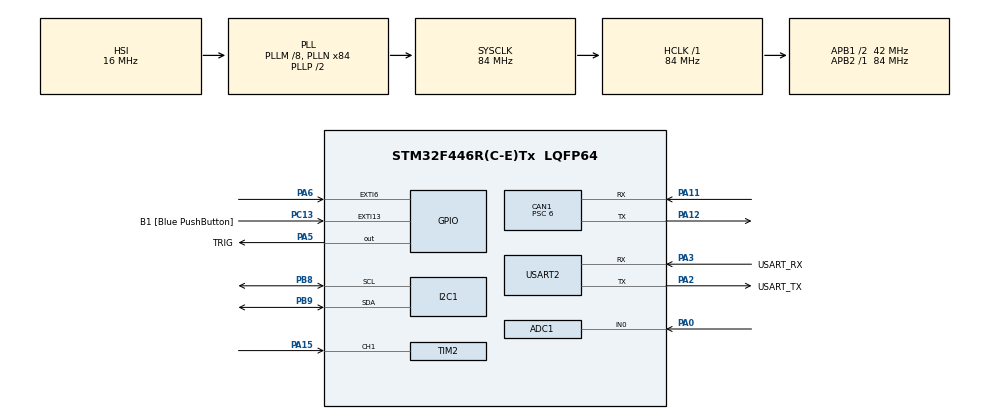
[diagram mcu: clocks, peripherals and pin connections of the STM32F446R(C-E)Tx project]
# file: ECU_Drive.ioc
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ADC1.Channel-2\#ChannelRegularConversion=ADC_CHANNEL_0
ADC1.ContinuousConvMode=ENABLE
ADC1.NbrOfConversionFlag=1
ADC1.Rank-2\#ChannelRegularConversion=1
ADC1.SamplingTime-2\#ChannelRegularConversion=ADC_SAMPLETIME_3CYCLES
ADC1.master=1
CAN1.ABOM=ENABLE
CAN1.BS1=CAN_BS1_11TQ
CAN1.BS2=CAN_BS2_2TQ
CAN1.CalculateBaudRate=500000
CAN1.CalculateTimeBit=2000
CAN1.CalculateTimeQuantum=142.85714285714286
CAN1.Prescaler=6
FREERTOS.Mutexes01=Mutex_I2C,Dynamic,NULL,Available
FREERTOS.Tasks01=LCD_Task,-2,256,StartDefaultTask,Default,NULL,Dynamic,NULL,NULL;CAN_RX_Task,2,256,StartTask02,Default,NULL,Dynamic,NULL,NULL;Distance_Task,0,128,StartTask03,Default,NULL,Dynamic,NULL,NULL;Speed_Task,0,128,StartTask04,Default,NULL,Dynamic,NULL,NULL;CAN_TX_Task,0,256,StartTask05,Default,NULL,Dynamic,NULL,NULL;Heartbeat_Task,-1,128,StartTask06,Default,NULL,Dynamic,NULL,NULL
Mcu.Family=STM32F4
Mcu.Name=STM32F446R(C-E)Tx
Mcu.Package=LQFP64
NVIC.CAN1_RX0_IRQn=true\:5\:0\:false\:false\:true\:true\:true\:true\:true
NVIC.CAN1_TX_IRQn=true\:5\:0\:false\:false\:true\:true\:true\:true\:true
NVIC.EXTI15_10_IRQn=true\:5\:0\:false\:false\:true\:true\:true\:true\:true
NVIC.EXTI9_5_IRQn=true\:5\:0\:false\:false\:true\:true\:true\:true\:true
NVIC.PriorityGroup=NVIC_PRIORITYGROUP_4
NVIC.TIM2_IRQn=true\:5\:0\:false\:false\:true\:true\:true\:true\:true
NVIC.TIM4_IRQn=true\:15\:0\:false\:false\:true\:false\:false\:true\:true
NVIC.TimeBase=TIM4_IRQn
NVIC.TimeBaseIP=TIM4
PA0-WKUP.Signal=ADCx_IN0
PA11.Mode=CAN_Activate
PA11.Signal=CAN1_RX
PA12.Mode=CAN_Activate
PA12.Signal=CAN1_TX
PA13.GPIO_Label=TMS
PA13.Mode=Serial_Wire
PA13.Signal=SYS_JTMS-SWDIO
PA14.GPIO_Label=TCK
PA14.Mode=Serial_Wire
PA14.Signal=SYS_JTCK-SWCLK
PA15.Signal=S_TIM2_CH1_ETR
PA2.GPIO_Label=USART_TX
PA2.Mode=Asynchronous
PA2.Signal=USART2_TX
PA3.GPIO_Label=USART_RX
PA3.Mode=Asynchronous
PA3.Signal=USART2_RX
PA5.GPIO_Label=TRIG
PA5.Signal=GPIO_Output
PA6.GPIO_ModeDefaultEXTI=GPIO_MODE_IT_RISING_FALLING
PA6.Signal=GPXTI6
PB8.Mode=I2C
PB8.Signal=I2C1_SCL
PB9.Mode=I2C
PB9.Signal=I2C1_SDA
PC13.GPIO_Label=B1 [Blue PushButton]
PC13.GPIO_ModeDefaultEXTI=GPIO_MODE_IT_FALLING
PC13.Signal=GPXTI13
PC14-OSC32_IN.Mode=LSE-External-Oscillator
PC14-OSC32_IN.Signal=RCC_OSC32_IN
PC15-OSC32_OUT.Mode=LSE-External-Oscillator
PC15-OSC32_OUT.Signal=RCC_OSC32_OUT
PH0-OSC_IN.Mode=HSE-External-Oscillator
PH0-OSC_IN.Signal=RCC_OSC_IN
PH1-OSC_OUT.Mode=HSE-External-Oscillator
PH1-OSC_OUT.Signal=RCC_OSC_OUT
ProjectManager.HeapSize=0x200
ProjectManager.StackSize=0x400
ProjectManager.TargetToolchain=STM32CubeIDE
RCC.48MHZClocksFreq_Value=84000000
RCC.AHBFreq_Value=84000000
RCC.APB1CLKDivider=RCC_HCLK_DIV2
RCC.APB1Freq_Value=42000000
RCC.APB1TimFreq_Value=84000000
RCC.APB2Freq_Value=84000000
RCC.APB2TimFreq_Value=84000000
RCC.CortexFreq_Value=84000000
RCC.FLatency-AdvancedSettings=FLASH_LATENCY_2
RCC.HCLKFreq_Value=84000000
RCC.HSE_VALUE=8000000
RCC.HSI_VALUE=16000000
RCC.PLLM=8
RCC.PLLN=84
RCC.SYSCLKFreq_VALUE=84000000
RCC.SYSCLKSource=RCC_SYSCLKSOURCE_PLLCLK
RCC.USBFreq_Value=84000000
RCC.VCOOutputFreq_Value=168000000
SH.ADCx_IN0.0=ADC1_IN0,IN0
SH.S_TIM2_CH1_ETR.0=TIM2_CH1,Input_Capture1_from_TI1
TIM2.Channel-Input_Capture1_from_TI1=TIM_CHANNEL_1
TIM2.Prescaler=83
USART2.VirtualMode=VM_ASYNC
VP_FREERTOS_VS_CMSIS_V1.Mode=CMSIS_V1
VP_SYS_VS_tim4.Mode=TIM4
VP_TIM2_VS_ClockSourceINT.Mode=Internal
board=NUCLEO-F446RE

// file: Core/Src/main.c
/* USER CODE BEGIN Header */
/**
 ******************************************************************************
 * @file           : main.c
 * @brief          : Main program body
 ******************************************************************************
 * @attention
 *
 * Copyright (c) 2026 STMicroelectronics.
 * All rights reserved.
 *
 * This software is licensed under terms that can be found in the LICENSE file
 * in the root directory of this software component.
 * If no LICENSE file comes with this software, it is provided AS-IS.
 *
 ******************************************************************************
 */
/* USER CODE END Header */
#include "main.h"
#include "cmsis_os.h"
#include "adc.h"
#include "can.h"
#include "i2c.h"
#include "tim.h"
#include "usart.h"
#include "gpio.h"

/* USER CODE BEGIN Includes */
#include "i2c_lcd.h"
#include "driving_data.h"
#include "can.h"
#include <stdio.h>
/* USER CODE END Includes */

/* USER CODE BEGIN PV */
I2C_LCD_HandleTypeDef lcd;  // LCD 핸들 구조체 전역 변수 선언

volatile uint32_t IC_Val1 = 0;
volatile uint32_t IC_Val2 = 0;
volatile uint32_t Difference = 0;
volatile uint8_t Is_First_Captured = 0;  // 첫 번째 엣지(Rising) 캡처 여부 플래그

extern uint16_t ultrasonic_distance; // freertos.c에 있는 변수 가져오기
volatile uint8_t ota_mode_active = 0;
/* USER CODE END PV */

void SystemClock_Config(void);
void MX_FREERTOS_Init(void);

int main(void)
{

  /* MCU Configuration--------------------------------------------------------*/

  /* Reset of all peripherals, Initializes the Flash interface and the Systick. */
  HAL_Init();

  /* Configure the system clock */
  SystemClock_Config();

  /* Initialize all configured peripherals */
  MX_GPIO_Init();
  MX_ADC1_Init();
  MX_CAN1_Init();
  MX_I2C1_Init();
  MX_TIM2_Init();
  MX_USART2_UART_Init();
  /* USER CODE BEGIN 2 */
	// 1. I2C LCD 하드웨어 핸들 매핑
	lcd.hi2c = &hi2c1;

	// 2. I2C LCD 주소 자동 스캔 및 설정
	HAL_Delay(1000);
	if (HAL_I2C_IsDeviceReady(&hi2c1, 0x27 << 1, 5, 100) == HAL_OK) {
		lcd.address = 0x27 << 1; // 0x27 주소 매핑
	} else if (HAL_I2C_IsDeviceReady(&hi2c1, 0x3F << 1, 5, 100) == HAL_OK) {
		lcd.address = 0x3F << 1; // 0x3F 주소 매핑
	} else {
		lcd.address = 0x27 << 1;
	}

	// 3. 올바른 주소로 LCD 초기화 진행
	lcd_init(&lcd);

	// 4. CAN 필터 및 인터럽트 설정
	CAN_FilterTypeDef canFilterConfig;
	canFilterConfig.FilterBank = 0;
	canFilterConfig.FilterMode = CAN_FILTERMODE_IDMASK;
	canFilterConfig.FilterScale = CAN_FILTERSCALE_32BIT;
	canFilterConfig.FilterIdHigh = 0x0000;
	canFilterConfig.FilterIdLow = 0x0000;
	canFilterConfig.FilterMaskIdHigh = 0x0000;
	canFilterConfig.FilterMaskIdLow = 0x0000;
	canFilterConfig.FilterFIFOAssignment = CAN_RX_FIFO0;
	canFilterConfig.FilterActivation = ENABLE;
	canFilterConfig.SlaveStartFilterBank = 14;

	if (HAL_CAN_ConfigFilter(&hcan1, &canFilterConfig) != HAL_OK) {
		Error_Handler();
	}

	// CAN 통신 시작
	HAL_CAN_Start(&hcan1);

	// RX는 CAN_RX_Task에서 폴링 (ECU4와 동일, 인터럽트+폴링 동시 사용 금지)

	// 5. 초음파 Echo 핀 캡처 인터럽트 시작
	HAL_TIM_IC_Start_IT(&htim2, TIM_CHANNEL_1);
  /* USER CODE END 2 */

  /* Call init function for freertos objects (in cmsis_os2.c) */
  MX_FREERTOS_Init();

  /* Start scheduler */
  osKernelStart();

  /* We should never get here as control is now taken by the scheduler */

  /* Infinite loop */
	while (1) {

	}
}

void SystemClock_Config(void)
{
  RCC_OscInitTypeDef RCC_OscInitStruct = {0};
  RCC_ClkInitTypeDef RCC_ClkInitStruct = {0};

  /** Configure the main internal regulator output voltage
  */
  __HAL_RCC_PWR_CLK_ENABLE();
  __HAL_PWR_VOLTAGESCALING_CONFIG(PWR_REGULATOR_VOLTAGE_SCALE3);

  /** Initializes the RCC Oscillators according to the specified parameters
  * in the RCC_OscInitTypeDef structure.
  */
  RCC_OscInitStruct.OscillatorType = RCC_OSCILLATORTYPE_HSI;
  RCC_OscInitStruct.HSIState = RCC_HSI_ON;
  RCC_OscInitStruct.HSICalibrationValue = RCC_HSICALIBRATION_DEFAULT;
  RCC_OscInitStruct.PLL.PLLState = RCC_PLL_ON;
  RCC_OscInitStruct.PLL.PLLSource = RCC_PLLSOURCE_HSI;
  RCC_OscInitStruct.PLL.PLLM = 8;
  RCC_OscInitStruct.PLL.PLLN = 84;
  RCC_OscInitStruct.PLL.PLLP = RCC_PLLP_DIV2;
  RCC_OscInitStruct.PLL.PLLQ = 2;
  RCC_OscInitStruct.PLL.PLLR = 2;
  if (HAL_RCC_OscConfig(&RCC_OscInitStruct) != HAL_OK)
  {
    Error_Handler();
  }

  /** Initializes the CPU, AHB and APB buses clocks
  */
  RCC_ClkInitStruct.ClockType = RCC_CLOCKTYPE_HCLK|RCC_CLOCKTYPE_SYSCLK
                              |RCC_CLOCKTYPE_PCLK1|RCC_CLOCKTYPE_PCLK2;
  RCC_ClkInitStruct.SYSCLKSource = RCC_SYSCLKSOURCE_PLLCLK;
  RCC_ClkInitStruct.AHBCLKDivider = RCC_SYSCLK_DIV1;
  RCC_ClkInitStruct.APB1CLKDivider = RCC_HCLK_DIV2;
  RCC_ClkInitStruct.APB2CLKDivider = RCC_HCLK_DIV1;

  if (HAL_RCC_ClockConfig(&RCC_ClkInitStruct, FLASH_LATENCY_2) != HAL_OK)
  {
    Error_Handler();
  }
}

/* USER CODE BEGIN 4 */
// 1. 변수 선언 (volatile 키워드 추가: 인터럽트와 태스크 간 데이터 동기화 보장)
// UART 미사용 (디버그는 ECU4 CAN RX에서 확인)
int __io_putchar(int ch) {
	(void)ch;
	return ch;
}

// 2. 타이머 인터럽트 콜백 함수
void HAL_TIM_IC_CaptureCallback(TIM_HandleTypeDef *htim) {
	// PA15에 연결된 TIM2_CH1 인터럽트 확인
	if (htim->Instance == TIM2 && htim->Channel == HAL_TIM_ACTIVE_CHANNEL_1) {
		if (Is_First_Captured == 0) // 상승 엣지(Rising Edge) 감지 -> 측정 시작
				{
			IC_Val1 = HAL_TIM_ReadCapturedValue(htim, TIM_CHANNEL_1);
			Is_First_Captured = 1;

			// 다음 인터럽트는 하강 엣지(Falling Edge)에서 발생하도록 설정 변경
			__HAL_TIM_SET_CAPTUREPOLARITY(htim, TIM_CHANNEL_1,
					TIM_INPUTCHANNELPOLARITY_FALLING);
		} else if (Is_First_Captured == 1) // 하강 엣지(Falling Edge) 감지
				{
			IC_Val2 = HAL_TIM_ReadCapturedValue(htim, TIM_CHANNEL_1);

			// 머무른 시간(펄스 폭) 계산
			if (IC_Val2 > IC_Val1) {
				Difference = IC_Val2 - IC_Val1;
			} else if (IC_Val1 > IC_Val2) {
				Difference = (0xFFFFFFFF - IC_Val1) + IC_Val2; // 오버플로우 처리
			}

			// 거리(cm) = 펄스폭(us) * 0.034 / 2  →  정수 연산 (ISR에서 float 금지)
			ultrasonic_distance = (uint16_t)((Difference * 17U) / 1000U);

			Is_First_Captured = 0;

			// 다음 측정을 위해 다시 상승 엣지 대기
			__HAL_TIM_SET_CAPTUREPOLARITY(htim, TIM_CHANNEL_1,
					TIM_INPUTCHANNELPOLARITY_RISING);
		}
	}
}
/* USER CODE END 4 */

void HAL_TIM_PeriodElapsedCallback(TIM_HandleTypeDef *htim)
{
  if (htim->Instance == TIM4)
  {
    HAL_IncTick();
  }
}

void Error_Handler(void)
{
	__disable_irq();
	while (1) {
	}
}

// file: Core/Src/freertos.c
/* USER CODE BEGIN Header */
/**
  ******************************************************************************
  * File Name          : freertos.c
  * Description        : Code for freertos applications
  ******************************************************************************
  * @attention
  *
  * Copyright (c) 2026 STMicroelectronics.
  * All rights reserved.
  *
  * This software is licensed under terms that can be found in the LICENSE file
  * in the root directory of this software component.
  * If no LICENSE file comes with this software, it is provided AS-IS.
  *
  ******************************************************************************
  */
/* USER CODE END Header */

#include "FreeRTOS.h"
#include "task.h"
#include "main.h"
#include "cmsis_os.h"

/* USER CODE BEGIN Includes */
#include "driving_data.h"
#include "adc_speed.h"
#include "ultrasonic.h"
#include "can_manager.h"
#include "lcd_manager.h"
/* USER CODE END Includes */

/* USER CODE BEGIN Variables */
DrivingData_t drivingData = {0, 0};
uint16_t ultrasonic_distance = 0;
osMutexId drivingMutexHandle;
/* USER CODE END Variables */
osThreadId LCD_TaskHandle;
osThreadId CAN_RX_TaskHandle;
osThreadId Distance_TaskHandle;
osThreadId Speed_TaskHandle;
osThreadId CAN_TX_TaskHandle;
osThreadId Heartbeat_TaskHandle;
osMutexId Mutex_I2CHandle;

void StartDefaultTask(void const * argument);
void StartTask02(void const * argument);
void StartTask03(void const * argument);
void StartTask04(void const * argument);
void StartTask05(void const * argument);
void StartTask06(void const * argument);

void MX_FREERTOS_Init(void); /* (MISRA C 2004 rule 8.1) */

/* GetIdleTaskMemory prototype (linked to static allocation support) */
void vApplicationGetIdleTaskMemory( StaticTask_t **ppxIdleTaskTCBBuffer, StackType_t **ppxIdleTaskStackBuffer, uint32_t *pulIdleTaskStackSize );

/* USER CODE BEGIN GET_IDLE_TASK_MEMORY */
static StaticTask_t xIdleTaskTCBBuffer;
static StackType_t xIdleStack[configMINIMAL_STACK_SIZE];

void vApplicationGetIdleTaskMemory( StaticTask_t **ppxIdleTaskTCBBuffer, StackType_t **ppxIdleTaskStackBuffer, uint32_t *pulIdleTaskStackSize )
{
  *ppxIdleTaskTCBBuffer = &xIdleTaskTCBBuffer;
  *ppxIdleTaskStackBuffer = &xIdleStack[0];
  *pulIdleTaskStackSize = configMINIMAL_STACK_SIZE;
  /* place for user code */
}
/* USER CODE END GET_IDLE_TASK_MEMORY */

void MX_FREERTOS_Init(void) {
  /* Create the mutex(es) */
  /* definition and creation of Mutex_I2C */
  osMutexDef(Mutex_I2C);
  Mutex_I2CHandle = osMutexCreate(osMutex(Mutex_I2C));

  /* USER CODE BEGIN RTOS_MUTEX */
  /* add mutexes, ... */
  osMutexDef(drivingMutex);
  drivingMutexHandle = osMutexCreate(osMutex(drivingMutex));
  /* USER CODE END RTOS_MUTEX */

  /* Create the thread(s) */
  /* definition and creation of LCD_Task */
  osThreadDef(LCD_Task, StartDefaultTask, osPriorityLow, 0, 256);
  LCD_TaskHandle = osThreadCreate(osThread(LCD_Task), NULL);

  /* definition and creation of CAN_RX_Task */
  osThreadDef(CAN_RX_Task, StartTask02, osPriorityHigh, 0, 256);
  CAN_RX_TaskHandle = osThreadCreate(osThread(CAN_RX_Task), NULL);

  /* definition and creation of Distance_Task */
  osThreadDef(Distance_Task, StartTask03, osPriorityNormal, 0, 128);
  Distance_TaskHandle = osThreadCreate(osThread(Distance_Task), NULL);

  /* definition and creation of Speed_Task */
  osThreadDef(Speed_Task, StartTask04, osPriorityNormal, 0, 128);
  Speed_TaskHandle = osThreadCreate(osThread(Speed_Task), NULL);

  /* definition and creation of CAN_TX_Task */
  osThreadDef(CAN_TX_Task, StartTask05, osPriorityNormal, 0, 256);
  CAN_TX_TaskHandle = osThreadCreate(osThread(CAN_TX_Task), NULL);

  /* definition and creation of Heartbeat_Task */
  osThreadDef(Heartbeat_Task, StartTask06, osPriorityBelowNormal, 0, 128);
  Heartbeat_TaskHandle = osThreadCreate(osThread(Heartbeat_Task), NULL);

}

void StartDefaultTask(void const * argument)
{
  /* USER CODE BEGIN StartDefaultTask */
  /* Infinite loop */
  for(;;)
  {
	  LCD_Task_Run();
  }
  /* USER CODE END StartDefaultTask */
}

void StartTask02(void const * argument)
{
  /* USER CODE BEGIN StartTask02 */
  /* Infinite loop */
  for(;;)
  {
	  CAN_RX_Task_Run();
  }
  /* USER CODE END StartTask02 */
}

void StartTask03(void const * argument)
{
  /* USER CODE BEGIN StartTask03 */
  /* Infinite loop */

  for(;;)
  {
	  Distance_Task_Run();
  }
  /* USER CODE END StartTask03 */
}

void StartTask04(void const * argument)
{
  /* USER CODE BEGIN StartTask04 */
  /* Infinite loop */
  for(;;)
  {
	  Speed_Task_Run();
  }
  /* USER CODE END StartTask04 */
}

void StartTask05(void const * argument)
{
  /* USER CODE BEGIN StartTask05 */
  /* Infinite loop */
  for(;;)
  {
	  CAN_TX_Task_Run();
  }
  /* USER CODE END StartTask05 */
}

void StartTask06(void const * argument)
{
  /* USER CODE BEGIN StartTask06 */
  /* Infinite loop */
  for(;;)
  {
	  Heartbeat_Task_Run();
  }
  /* USER CODE END StartTask06 */
}
